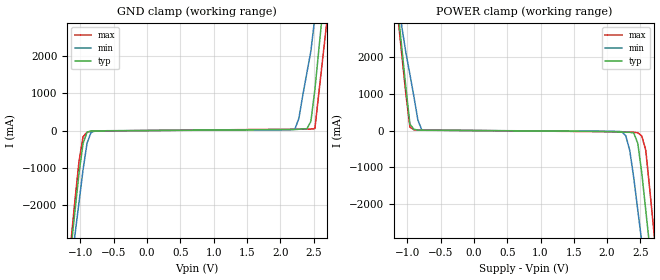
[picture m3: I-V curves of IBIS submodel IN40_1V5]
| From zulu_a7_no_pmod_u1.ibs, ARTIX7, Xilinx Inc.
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[Submodel]  IN40_1V5
Submodel_type   Dynamic_clamp
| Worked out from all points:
|   GND clamp passes 1 mA (typ) near -0.08 V on its own axis
|   POWER clamp passes 1 mA (typ) near -0.08 V on its own axis
[GND_clamp]
|Voltage   I(typ)   I(min)   I(max)
-1.5V     -9.237A    -8.828A    -9.521A
-1.14V    -3.163A    -3.653A    -2.953A
-1.08V    -2.143A    -2.787A    -1.854A
-960mV    -348.6mA   -1.051A    -167.1mA
-900mV    -45.4mA    -338.1mA   -42.04mA
-780mV    -9.63mA    -14.58mA   -16.93mA
2.22V     27.43mA    34.97mA    35.82mA
2.46V     246.2mA    2.137A     39.32mA
2.52V     1.1A       3.05A      52.37mA
2.64V     3.279A     4.928A     1.975A
2.7V      4.352A     5.856A     2.937A
3V        9.822A     10.51A     8.668A
[POWER_clamp]
|Voltage   I(typ)   I(min)   I(max)
-1.5V     9.802A     9.325A     10.11A
-1.14V    3.268A     3.738A     3.078A
-960mV    171.1mA    1.521A     93.81mA
-900mV    36.25mA    917.4mA    18.82mA
-780mV    9.24mA     7.77mA     10.94mA
2.22V     -41.79mA   -32mA      -38.84mA
2.34V     -48.09mA   -543.8mA   -43.09mA
2.46V     -345.1mA   -2.16A     -60.27mA
2.58V     -2.165A    -3.887A    -534.2mA
2.64V     -3.185A    -4.752A    -1.596A
2.7V      -4.206A    -5.616A    -2.705A
3V        -9.267A    -9.916A    -8.198A
